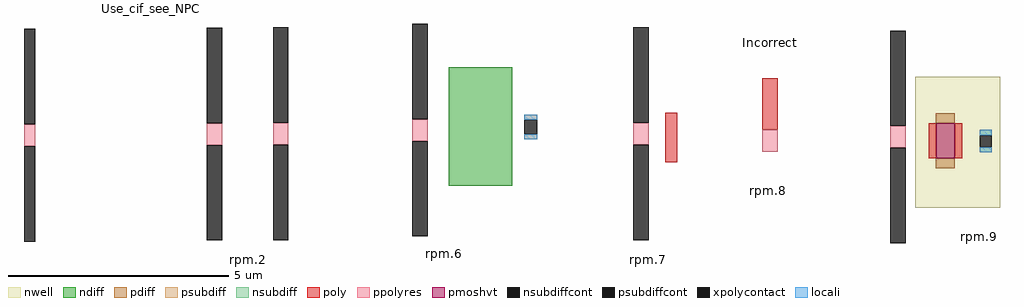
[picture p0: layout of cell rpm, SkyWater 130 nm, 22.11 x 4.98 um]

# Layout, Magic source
magic
tech sky130A
magscale 1 2
<< nwell >>
rect 5116 608 5501 1201
<< pmoshvt >>
rect 5212 833 5297 990
<< ndiff >>
rect 3004 708 3292 1244
<< pdiff >>
rect 5211 990 5297 1036
rect 5211 787 5297 833
<< psubdiff >>
rect 3346 1006 3406 1030
rect 3346 918 3406 942
<< nsubdiff >>
rect 5409 936 5463 961
rect 5409 859 5463 883
<< psubdiffcont >>
rect 3346 942 3406 1006
<< nsubdiffcont >>
rect 5409 883 5463 936
<< poly >>
rect 3985 814 4039 1039
rect 4424 961 4494 1194
rect 5178 833 5212 990
rect 5297 833 5330 990
<< xpolycontact >>
rect 1080 986 1130 1418
rect 1080 454 1130 886
rect 1908 992 1978 1424
rect 1908 460 1978 892
rect 2208 994 2278 1426
rect 2208 462 2278 894
rect 2838 1010 2908 1442
rect 2838 478 2908 910
rect 3840 994 3910 1426
rect 3840 462 3910 894
rect 5003 979 5073 1411
rect 5003 447 5073 879
<< ppolyres >>
rect 1080 886 1130 986
rect 1908 892 1978 992
rect 2208 894 2278 994
rect 2838 910 2908 1010
rect 3840 894 3910 994
rect 4424 861 4494 961
rect 5003 879 5073 979
<< locali >>
rect 3346 1006 3406 1030
rect 3346 918 3406 942
rect 5409 936 5463 961
rect 5409 859 5463 883
<< labels >>
flabel comment s 292 2248 292 2248 0 FreeSans 800 0 0 0 P+_Poly_Resistor_(rpm)
flabel comment s 1670 2280 1670 2280 0 FreeSans 560 0 0 0 Use_cif_see_RPM
flabel comment s -200 1168 -200 1168 0 FreeSans 560 0 0 0 rpm.1
flabel comment s -84 1324 -78 1324 0 FreeSans 560 0 0 0 Correct_by_design
flabel comment s 1778 2112 1778 2112 0 FreeSans 560 0 0 0 Use_cif_see_POLYRES
flabel comment s 1634 1892 1634 1892 0 FreeSans 560 0 0 0 Use_cif_see_CONT
flabel comment s 2098 358 2098 358 0 FreeSans 560 0 0 0 rpm.2
flabel comment s 2084 206 2084 206 0 FreeSans 560 0 0 0 rpm.3
flabel comment s -210 1020 -210 1020 0 FreeSans 560 0 0 0 rpm.4
flabel comment s 1640 1692 1640 1692 0 FreeSans 560 0 0 0 Use_cif_see_PPLUS
flabel comment s 1654 1538 1654 1538 0 FreeSans 560 0 0 0 Use_cif_see_NPC
flabel comment s -206 882 -206 882 0 FreeSans 560 0 0 0 rpm.5
flabel comment s 2986 400 2986 400 0 FreeSans 560 0 0 0 rpm.6
flabel comment s 3106 1651 3106 1651 0 FreeSans 560 0 0 0 Incorrect
flabel comment s 3909 367 3909 367 0 FreeSans 560 0 0 0 rpm.7
flabel comment s 3914 1649 3914 1649 0 FreeSans 560 0 0 0 Incorrect
flabel comment s 4452 685 4452 685 0 FreeSans 560 0 0 0 rpm.8
flabel comment s 4462 1356 4462 1356 0 FreeSans 560 0 0 0 Incorrect
flabel comment s 5410 479 5410 479 0 FreeSans 560 0 0 0 rpm.9
flabel comment s 5163 1607 5163 1607 0 FreeSans 560 0 0 0 Incorrect
flabel comment s -76 1892 -70 1892 0 FreeSans 560 0 0 0 Not_Implemented
flabel comment s -173 1762 -173 1762 0 FreeSans 560 0 0 0 rpm.10
flabel comment s -173 1621 -173 1621 0 FreeSans 560 0 0 0 rpm.11
flabel comment s 1183 338 1183 338 0 FreeSans 560 0 0 0 rpm.1b
flabel comment s 986 130 986 130 0 FreeSans 560 0 0 0 NOTE:
flabel comment s 1268 -28 1268 -28 0 FreeSans 560 0 0 0 discrete_widths_not_checked
<< end >>
